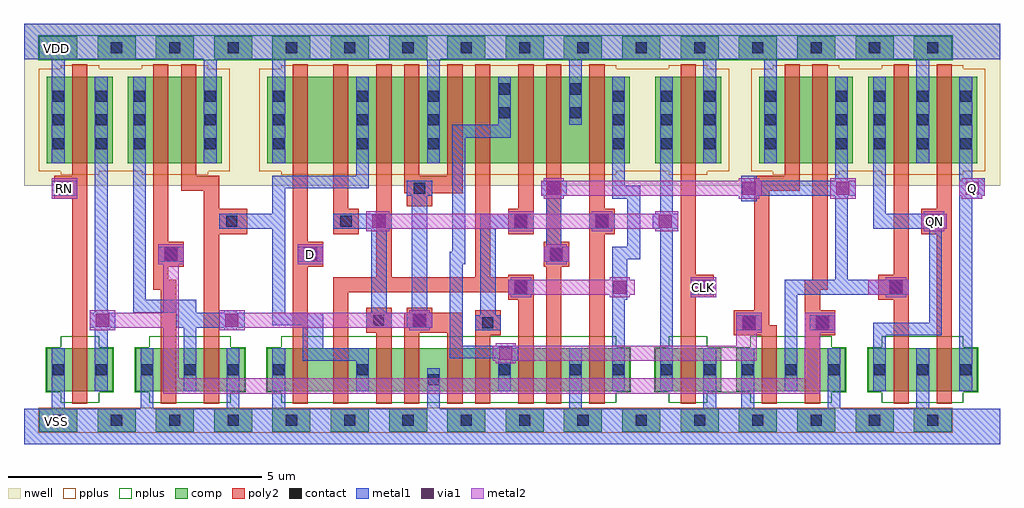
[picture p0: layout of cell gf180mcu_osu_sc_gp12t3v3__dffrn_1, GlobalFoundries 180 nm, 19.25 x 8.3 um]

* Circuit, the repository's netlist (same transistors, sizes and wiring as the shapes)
* Copyright 2022 Google LLC
*
* Licensed under the Apache License, Version 2.0 (the "License");
* you may not use this file except in compliance with the License.
* You may obtain a copy of the License at
*
*      http://www.apache.org/licenses/LICENSE-2.0
*
* Unless required by applicable law or agreed to in writing, software
* distributed under the License is distributed on an "AS IS" BASIS,
* WITHOUT WARRANTIES OR CONDITIONS OF ANY KIND, either express or implied.
* See the License for the specific language governing permissions and
* limitations under the License.

* NGSPICE file created from gf180mcu_osu_sc_gp12t3v3__dffrn_1.ext - technology: gf180mcuC

.subckt gf180mcu_osu_sc_gp12t3v3__dffrn_1 D Q QN RN CLK VDD VSS
X0 a_122_16# a_122_83# VDD VDD pfet_03p3 w=1.7u l=0.3u
X1 VDD a_205_70# a_201_111# VDD pfet_03p3 w=1.7u l=0.3u
X2 a_62_100# a_122_83# a_112_111# VDD pfet_03p3 w=1.7u l=0.3u
X3 a_145_111# a_122_16# a_62_100# VDD pfet_03p3 w=1.7u l=0.3u
X4 VSS a_205_70# QN VSS nfet_03p3 w=0.85u l=0.3u
X5 Q QN VDD VDD pfet_03p3 w=1.7u l=0.3u
X6 VDD a_205_70# QN VDD pfet_03p3 w=1.7u l=0.3u
X7 a_145_21# a_122_83# a_62_100# VSS nfet_03p3 w=0.85u l=0.3u
X8 VSS a_25_21# a_205_70# VSS nfet_03p3 w=0.85u l=0.3u
X9 a_25_21# RN VDD VDD pfet_03p3 w=1.7u l=0.3u
X10 VDD CLK a_122_83# VDD pfet_03p3 w=1.7u l=0.3u
X11 a_41_111# a_25_21# VSS VSS nfet_03p3 w=0.85u l=0.3u
X12 a_62_100# a_122_16# a_112_21# VSS nfet_03p3 w=0.85u l=0.3u
X13 VSS CLK a_122_83# VSS nfet_03p3 w=0.85u l=0.3u
X14 a_205_70# a_184_21# VSS VSS nfet_03p3 w=0.85u l=0.3u
X15 a_112_111# D VDD VDD pfet_03p3 w=1.7u l=0.3u
X16 a_25_21# RN VSS VSS nfet_03p3 w=0.85u l=0.3u
X17 a_201_21# a_122_16# a_184_21# VSS nfet_03p3 w=0.85u l=0.3u
X18 VSS a_205_70# a_201_21# VSS nfet_03p3 w=0.85u l=0.3u
X19 Q QN VSS VSS nfet_03p3 w=0.85u l=0.3u
X20 a_205_70# a_25_21# a_306_111# VDD pfet_03p3 w=1.7u l=0.3u
X21 a_306_111# a_184_21# VDD VDD pfet_03p3 w=1.7u l=0.3u
X22 VDD a_62_100# a_57_111# VDD pfet_03p3 w=1.7u l=0.3u
X23 VSS a_62_100# a_41_111# VSS nfet_03p3 w=0.85u l=0.3u
X24 a_112_21# D VSS VSS nfet_03p3 w=0.85u l=0.3u
X25 a_57_111# a_25_21# a_41_111# VDD pfet_03p3 w=1.7u l=0.3u
X26 a_173_21# a_41_111# VSS VSS nfet_03p3 w=0.85u l=0.3u
X27 a_201_111# a_122_83# a_184_21# VDD pfet_03p3 w=1.7u l=0.3u
X28 VSS a_41_111# a_145_21# VSS nfet_03p3 w=0.85u l=0.3u
X29 a_184_21# a_122_16# a_173_111# VDD pfet_03p3 w=1.7u l=0.3u
X30 a_184_21# a_122_83# a_173_21# VSS nfet_03p3 w=0.85u l=0.3u
X31 VDD a_41_111# a_145_111# VDD pfet_03p3 w=1.7u l=0.3u
X32 a_173_111# a_41_111# VDD VDD pfet_03p3 w=1.7u l=0.3u
X33 a_122_16# a_122_83# VSS VSS nfet_03p3 w=0.85u l=0.3u
.ends

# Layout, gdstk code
import gdstk
lib = gdstk.Library(unit=1e-6, precision=1e-09)
def R(c, l, rs):  # rectangles x0, y0, x1, y1
    for r in rs: c.add(gdstk.rectangle(r[:2], r[2:], *l))
def A(c, l, x, y, w, h, nx, ny, dx, dy):  # array of equal rectangles
    R(c, l, [(x+i*dx, y+j*dy, x+i*dx+w, y+j*dy+h) for i in range(nx) for j in range(ny)])
nwell = (21, 0)
comp = (22, 0)
poly2 = (30, 0)
pplus = (31, 0)
nplus = (32, 0)
contact = (33, 0)
metal1 = (34, 0)
via1 = (35, 0)
metal2 = (36, 0)

gf180mcu_osu_sc_gp12t3v3 = lib.new_cell('gf180mcu_osu_sc_gp12t3v3__dffrn_1')
R(gf180mcu_osu_sc_gp12t3v3, nwell, [(0,5.1,19.25,8.3)])
A(gf180mcu_osu_sc_gp12t3v3, comp, 0.3, 0.25, 0.75, 0.45, 16, 2, 1.15, 7.35)
R(gf180mcu_osu_sc_gp12t3v3, comp, [(0.45,1.05,1.75,1.9), (2.2,1.05,4.35,1.9), (4.8,1.05,11.95,1.9), (12.45,1.05,13.75,1.9), (14.05,1.05,16.2,1.9), (16.65,1.05,18.8,1.9), (0.45,5.55,1.75,7.25), (2.05,5.55,3.9,7.25), (4.8,5.55,11.95,7.25), (12.45,5.55,13.75,7.25), (14.5,5.55,16.35,7.25), (16.65,5.55,18.8,7.25)])
R(gf180mcu_osu_sc_gp12t3v3, poly2, [(0.95,0.8,1.25,4.85), (2.7,0.8,3,3.05), (3.55,0.8,3.85,4.15), (5.3,0.8,5.6,3.5), (6.1,0.8,6.4,3), (6.95,0.8,7.25,2.2), (7.5,0.8,7.8,2.2), (8.35,0.8,8.65,2.2), (8.9,0.8,9.2,2.15), (9.75,0.8,10.05,2.85), (10.3,0.8,10.6,3.5), (11.15,0.8,11.45,4.15), (12.95,0.8,13.25,2.9), (14.55,0.8,14.85,2.15), (15.4,0.8,15.7,2.15), (17.15,0.8,17.45,2.85), (18,0.8,18.3,4.15), (8.9,2.15,9.4,2.65), (14,2.15,14.85,2.35), (15.4,2.15,16,2.65), (6.75,2.2,7.25,2.7), (7.5,2.2,8.65,2.6), (14,2.35,14.7,2.65), (7.55,2.6,8.05,2.7), (14.4,2.65,14.7,5), (15.4,2.65,15.7,3.05), (9.55,2.85,10.05,3), (16.85,2.85,17.45,3.35), (12.95,2.9,13.6,3.35), (6.1,3,10.05,3.3), (2.55,3.05,3,3.25), (15.4,3.05,15.85,3.25), (2.55,3.25,2.85,3.5), (15.55,3.25,15.85,7.5), (6.95,3.3,7.25,7.5), (8.9,3.3,9.2,7.5), (9.55,3.3,10.05,3.35), (12.95,3.35,13.25,7.5), (17.15,3.35,17.45,7.5), (2.55,3.5,3.15,4), (5.3,3.5,5.9,4), (10.25,3.5,10.75,4), (2.55,4,2.85,7.5), (5.3,4,5.6,7.5), (10.3,4,10.6,7.5), (3.55,4.15,4.4,4.65), (6.1,4.15,6.6,4.65), (9.55,4.15,10.05,4.65), (11.15,4.15,11.65,4.65), (17.7,4.15,18.3,4.65), (3.55,4.65,3.85,5), (6.1,4.65,6.4,7.5), (9.75,4.65,10.05,7.5), (11.15,4.65,11.45,7.5), (18,4.65,18.3,7.5), (7.55,4.7,8.05,4.95), (0.6,4.85,1.25,5.3), (7.5,4.95,8.65,5.3), (3.1,5,3.85,5.3), (14.4,5,15.3,5.3), (0.95,5.3,1.25,7.5), (3.1,5.3,3.4,7.5), (7.5,5.3,7.8,7.5), (8.35,5.3,8.65,7.5), (15,5.3,15.3,7.5)])
R(gf180mcu_osu_sc_gp12t3v3, pplus, [(0.28,0.23,18.32,0.72), (0.72,5.32,1.48,5.39), (2.32,5.32,3.63,5.39), (5.07,5.32,11.68,5.39), (12.72,5.32,13.48,5.39), (14.77,5.32,16.08,5.39), (16.92,5.32,18.53,5.39), (0.29,5.39,4.06,7.41), (4.64,5.39,13.91,7.41), (14.34,5.39,18.96,7.41), (0.72,7.41,1.48,7.48), (2.32,7.41,3.63,7.48), (5.07,7.41,11.68,7.48), (12.72,7.41,13.48,7.48), (14.77,7.41,16.08,7.48), (16.92,7.41,18.53,7.48)])
R(gf180mcu_osu_sc_gp12t3v3, nplus, [(0.72,0.82,1.48,1.03), (2.47,0.82,4.08,1.03), (5.07,0.82,11.68,1.03), (12.72,0.82,13.48,1.03), (14.32,0.82,15.93,1.03), (16.92,0.82,18.53,1.03), (0.43,1.03,1.77,1.92), (2.18,1.03,4.37,1.92), (4.78,1.03,11.97,1.92), (12.43,1.03,16.22,1.92), (16.63,1.03,18.82,1.92), (0.72,1.92,1.48,2.13), (2.47,1.92,4.08,2.13), (5.07,1.92,11.68,2.13), (12.72,1.92,13.48,2.13), (14.32,1.92,15.93,2.13), (16.92,1.92,18.53,2.13), (0.28,7.58,18.32,8.07)])
A(gf180mcu_osu_sc_gp12t3v3, contact, 0.565, 0.365, 0.22, 0.22, 16, 2, 1.15, 7.35)
A(gf180mcu_osu_sc_gp12t3v3, contact, 2.315, 1.365, 0.22, 0.22, 3, 1, 0.85, 0)
A(gf180mcu_osu_sc_gp12t3v3, contact, 14.165, 1.365, 0.22, 0.22, 3, 1, 0.85, 0)
A(gf180mcu_osu_sc_gp12t3v3, contact, 16.765, 1.365, 0.22, 0.22, 3, 2, 0.85, 4.455)
A(gf180mcu_osu_sc_gp12t3v3, contact, 0.565, 5.82, 0.22, 0.22, 1, 3, 0, 0.47)
A(gf180mcu_osu_sc_gp12t3v3, contact, 1.415, 5.82, 0.22, 0.22, 1, 3, 0, 0.47)
A(gf180mcu_osu_sc_gp12t3v3, contact, 2.165, 5.82, 0.22, 0.22, 1, 3, 0, 0.47)
A(gf180mcu_osu_sc_gp12t3v3, contact, 3.565, 5.82, 0.22, 0.22, 1, 3, 0, 0.47)
A(gf180mcu_osu_sc_gp12t3v3, contact, 4.915, 5.82, 0.22, 0.22, 1, 3, 0, 0.47)
A(gf180mcu_osu_sc_gp12t3v3, contact, 6.565, 5.82, 0.22, 0.22, 1, 3, 0, 0.47)
A(gf180mcu_osu_sc_gp12t3v3, contact, 7.965, 5.82, 0.22, 0.22, 1, 3, 0, 0.47)
A(gf180mcu_osu_sc_gp12t3v3, contact, 11.615, 5.82, 0.22, 0.22, 1, 3, 0, 0.47)
A(gf180mcu_osu_sc_gp12t3v3, contact, 12.565, 5.82, 0.22, 0.22, 1, 3, 0, 0.47)
A(gf180mcu_osu_sc_gp12t3v3, contact, 13.415, 5.82, 0.22, 0.22, 1, 3, 0, 0.47)
A(gf180mcu_osu_sc_gp12t3v3, contact, 14.615, 5.82, 0.22, 0.22, 1, 3, 0, 0.47)
A(gf180mcu_osu_sc_gp12t3v3, contact, 16.015, 5.82, 0.22, 0.22, 1, 3, 0, 0.47)
A(gf180mcu_osu_sc_gp12t3v3, contact, 16.765, 6.29, 0.22, 0.22, 3, 2, 0.85, 0.47)
R(gf180mcu_osu_sc_gp12t3v3, contact, [(7.965,1.165,8.185,1.385), (0.565,1.365,0.785,1.585), (1.415,1.365,1.635,1.585), (4.915,1.365,5.135,1.585), (6.565,1.365,6.785,1.585), (9.365,1.365,9.585,1.585), (10.765,1.365,10.985,1.585), (11.615,1.365,11.835,1.585), (12.565,1.365,12.785,1.585), (13.415,1.365,13.635,1.585), (9.04,2.29,9.26,2.51), (14.19,2.29,14.41,2.51), (15.64,2.29,15.86,2.51), (6.89,2.34,7.11,2.56), (7.69,2.34,7.91,2.56), (9.69,2.99,9.91,3.21), (17.09,2.99,17.31,3.21), (13.265,3.015,13.485,3.235), (2.79,3.64,3.01,3.86), (5.54,3.64,5.76,3.86), (10.39,3.64,10.61,3.86), (3.99,4.29,4.21,4.51), (6.24,4.29,6.46,4.51), (9.69,4.29,9.91,4.51), (11.29,4.29,11.51,4.51), (17.84,4.29,18.06,4.51), (7.69,4.94,7.91,5.16), (0.715,4.965,0.935,5.185), (9.365,6.43,9.585,6.65), (10.765,6.43,10.985,6.65), (9.365,6.9,9.585,7.12), (10.765,6.9,10.985,7.12)])
R(gf180mcu_osu_sc_gp12t3v3, metal1, [(0,0,19.25,0.7), (0.55,0.7,0.8,1.9), (2.3,0.7,2.55,1.9), (4,0.7,4.25,1.9), (4.9,0.7,5.15,1.9), (7.95,0.7,8.2,1.5), (10.75,0.7,11,1.9), (13.4,0.7,13.65,1.9), (14.15,0.7,14.4,1.9), (15.85,0.7,16.1,1.9), (17.6,0.7,17.85,1.9), (1.4,1.05,1.65,2.25), (3.15,1.05,3.4,2.3), (6.55,1.05,6.8,1.65), (9.35,1.05,9.6,1.65), (11.6,1.05,11.85,2.85), (12.55,1.05,12.8,4.25), (15,1.05,15.25,2.95), (16.75,1.05,17,2.15), (18.45,1.05,18.7,4.85), (5.5,1.65,6.8,1.9), (9.35,1.65,9.75,1.7), (8.4,1.7,9.75,1.95), (5.5,1.9,5.9,2.35), (8.4,1.95,8.65,3.55), (16.75,2.15,18.1,2.4), (1.4,2.25,1.7,2.3), (3.95,2.25,4.2,2.3), (8.9,2.25,9.4,2.55), (14.05,2.25,14.55,2.55), (15.5,2.25,16,2.55), (1.3,2.3,1.8,2.6), (3,2.3,4.35,2.6), (6.75,2.3,7.25,2.6), (7.55,2.3,8.05,2.6), (4.9,2.35,5.9,2.6), (17.85,2.4,18.1,4.25), (9,2.55,9.3,4.25), (1.4,2.6,1.65,7.25), (2.15,2.6,3.4,2.85), (3.95,2.6,4.2,2.65), (4.9,2.6,5.15,4.25), (6.85,2.6,7.15,4.25), (7.65,2.6,7.95,4.9), (2.15,2.85,2.4,7.25), (11.6,2.85,11.9,3.65), (9.55,2.95,10.05,3.25), (13.15,2.95,13.65,3.25), (15,2.95,17.45,3.25), (16,3.25,16.25,4.9), (8.4,3.55,8.7,3.8), (2.65,3.6,3.15,3.9), (5.4,3.6,5.9,3.9), (10.25,3.6,10.75,3.9), (11.6,3.65,12.15,3.9), (8.45,3.8,8.7,6.05), (10.3,3.9,10.6,4.9), (11.9,3.9,12.15,4.85), (3.85,4.25,5.15,4.55), (6.1,4.25,7.25,4.55), (9,4.25,10.05,4.55), (11.15,4.25,11.65,4.55), (12.4,4.25,12.9,4.55), (16.75,4.25,18.2,4.55), (4.9,4.55,5.15,5.05), (12.55,4.55,12.8,7.25), (16.75,4.55,17,7.25), (14.15,4.8,14.45,4.9), (11.6,4.85,12.15,5.1), (18.45,4.85,18.9,4.9), (0.55,4.9,1.05,5.2), (7.55,4.9,8.05,5.2), (10.2,4.9,10.7,5.2), (14.15,4.9,16.4,5.2), (18.45,4.9,18.95,5.25), (4.9,5.05,6.8,5.3), (11.6,5.1,11.85,7.25), (14.15,5.2,14.45,5.3), (16,5.2,16.25,7.25), (18.45,5.25,18.7,7.25), (6.55,5.3,6.8,7.25), (0.55,5.55,0.8,7.6), (3.55,5.55,3.8,7.6), (4.9,5.55,5.15,7.6), (7.95,5.55,8.2,7.6), (13.4,5.55,13.65,7.6), (14.6,5.55,14.85,7.6), (17.6,5.55,17.85,7.6), (8.45,6.05,9.6,6.3), (9.35,6.3,9.6,7.25), (10.75,6.3,11,7.6), (0,7.6,19.25,8.3)])
R(gf180mcu_osu_sc_gp12t3v3, via1, [(9.37,1.67,9.63,1.93), (14.17,2.27,14.43,2.53), (15.62,2.27,15.88,2.53), (1.42,2.32,1.68,2.58), (3.97,2.32,4.23,2.58), (7.67,2.32,7.93,2.58), (9.67,2.97,9.93,3.23), (11.62,2.97,11.88,3.23), (13.27,2.97,13.53,3.23), (17.07,2.97,17.33,3.23), (2.77,3.62,3.03,3.88), (5.52,3.62,5.78,3.88), (10.37,3.62,10.63,3.88), (6.87,4.27,7.13,4.53), (9.67,4.27,9.93,4.53), (11.27,4.27,11.53,4.53), (12.52,4.27,12.78,4.53), (17.82,4.27,18.08,4.53), (0.67,4.92,0.93,5.18), (10.32,4.92,10.58,5.18), (14.17,4.92,14.43,5.18), (16.02,4.92,16.28,5.18), (18.57,4.92,18.83,5.18)])
R(gf180mcu_osu_sc_gp12t3v3, metal2, [(2.75,1,15.7,1.3), (2.75,1.3,3.05,2.3), (15.4,1.3,15.7,2.2), (9.3,1.6,9.7,1.65), (9.25,1.65,14.45,1.95), (9.3,1.95,9.7,2), (14.05,1.95,14.45,2.2), (14.05,2.2,14.55,2.6), (15.4,2.2,16,2.6), (1.3,2.25,1.8,2.3), (3.85,2.25,4.35,2.3), (7.6,2.25,8,2.3), (1.3,2.3,3.05,2.6), (3.85,2.3,8.05,2.6), (1.3,2.6,1.8,2.65), (2.75,2.6,3.05,3.55), (3.85,2.6,4.35,2.65), (7.6,2.6,8,2.65), (9.6,2.9,10,2.95), (11.55,2.9,11.95,2.95), (13.15,2.9,13.65,3.3), (17,2.9,17.4,2.95), (9.55,2.95,12.05,3.25), (16.65,2.95,17.45,3.25), (9.6,3.25,10,3.3), (11.55,3.25,11.95,3.3), (17,3.25,17.4,3.3), (2.65,3.55,3.15,3.95), (5.4,3.55,5.9,3.95), (10.3,3.55,10.7,3.6), (10.25,3.6,10.75,3.9), (10.3,3.9,10.7,3.95), (6.75,4.2,7.2,4.25), (9.55,4.2,10.05,4.25), (11.2,4.2,11.6,4.25), (12.45,4.2,12.9,4.25), (17.75,4.2,18.15,4.25), (6.75,4.25,12.9,4.55), (17.7,4.25,18.2,4.55), (6.75,4.55,7.2,4.6), (9.55,4.55,10.05,4.6), (11.2,4.55,11.6,4.6), (12.45,4.55,12.9,4.6), (17.75,4.55,18.15,4.6), (0.55,4.85,1.05,5.25), (10.25,4.85,10.65,4.9), (14.1,4.85,14.5,4.9), (15.9,4.85,16.4,5.25), (18.5,4.85,18.9,4.9), (10.2,4.9,14.55,5.2), (18.45,4.9,18.95,5.2), (10.25,5.2,10.65,5.25), (14.1,5.2,14.5,5.25), (18.5,5.2,18.9,5.25)])
gf180mcu_osu_sc_gp12t3v3.add(gdstk.Label('D', (5.65,3.75), layer=36, texttype=10))
gf180mcu_osu_sc_gp12t3v3.add(gdstk.Label('Q', (18.7,5.05), layer=36, texttype=10))
gf180mcu_osu_sc_gp12t3v3.add(gdstk.Label('QN', (17.95,4.4), layer=36, texttype=10))
gf180mcu_osu_sc_gp12t3v3.add(gdstk.Label('RN', (0.8,5.05), layer=36, texttype=10))
gf180mcu_osu_sc_gp12t3v3.add(gdstk.Label('CLK', (13.4,3.1), layer=36, texttype=10))
gf180mcu_osu_sc_gp12t3v3.add(gdstk.Label('VDD', (0.65,7.8), layer=34, texttype=10))
gf180mcu_osu_sc_gp12t3v3.add(gdstk.Label('VSS', (0.65,0.45), layer=34, texttype=10))

lib.write_gds('gf180mcu_osu_sc_gp12t3v3__dffrn_1.gds')
